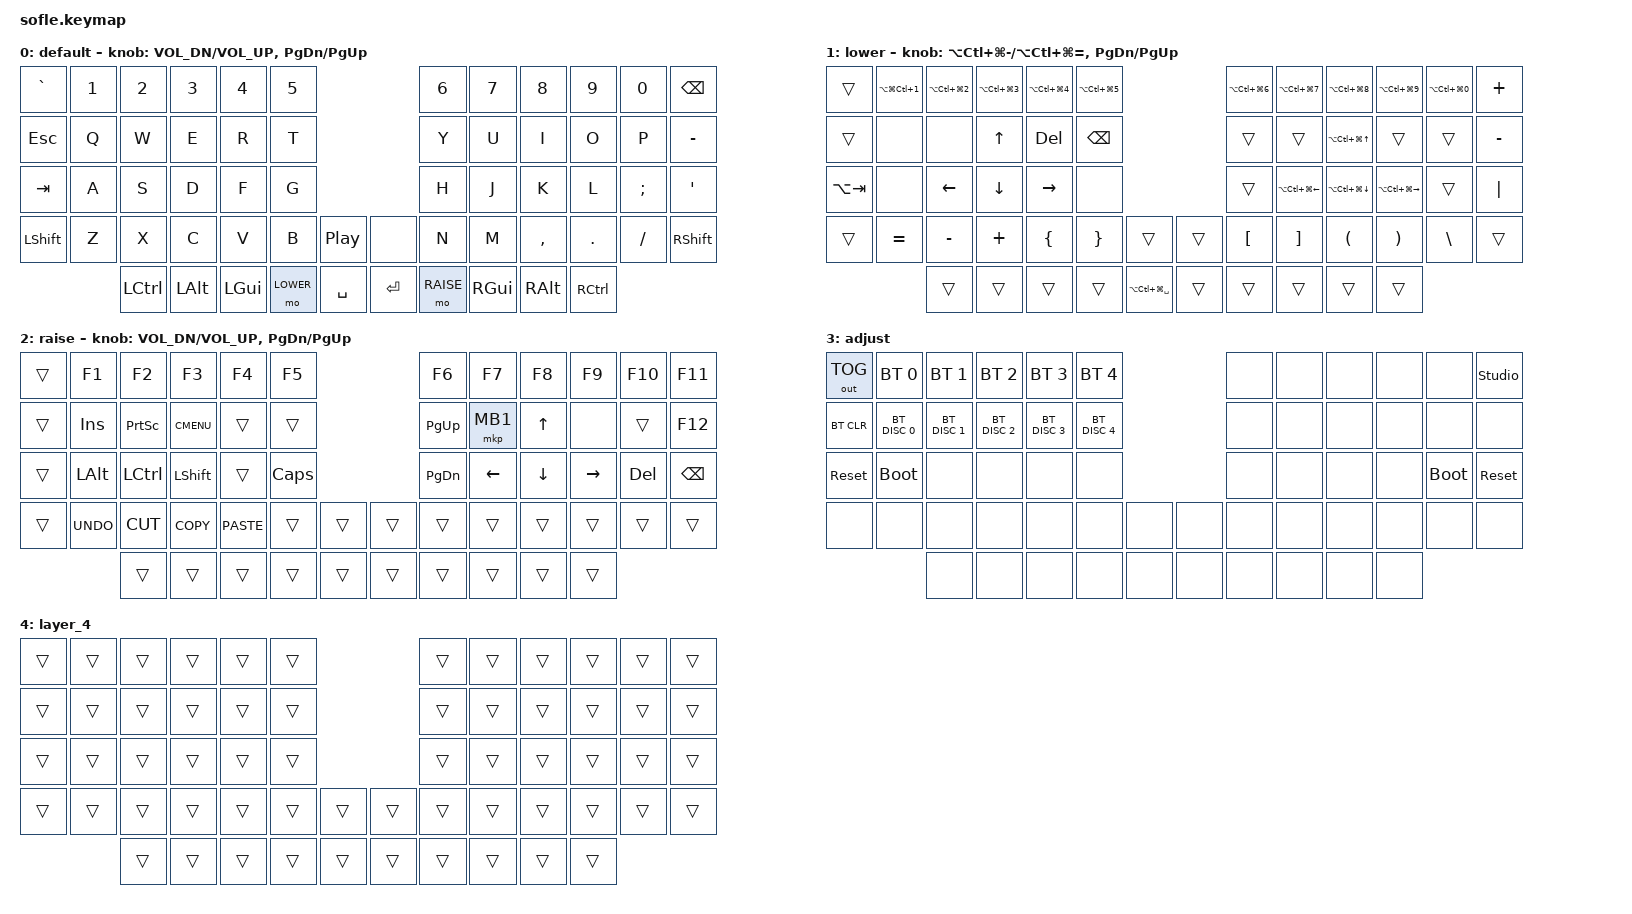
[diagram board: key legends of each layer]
/*
 * Copyright (c) 2020 The ZMK Contributors
 *
 * SPDX-License-Identifier: MIT
 */

#include <behaviors.dtsi>
#include <dt-bindings/zmk/bt.h>
#include <dt-bindings/zmk/keys.h>
#include <dt-bindings/zmk/outputs.h>
#include <dt-bindings/zmk/pointing.h>

#define BASE 0
#define LOWER 1
#define RAISE 2
#define ADJUST 3

/ {
    // Activate ADJUST layer by pressing raise and lower

    conditional_layers {
        compatible = "zmk,conditional-layers";

        adjust_layer {
            if-layers = <LOWER RAISE>;
            then-layer = <ADJUST>;
        };
    };

    keymap {
        compatible = "zmk,keymap";

        default_layer {
            display-name = "default";
            bindings = <
&kp GRAVE  &kp N1  &kp N2     &kp N3    &kp N4    &kp N5                                  &kp N6     &kp N7    &kp N8     &kp N9     &kp N0    &kp BSPC
&kp ESC    &kp Q   &kp W      &kp E     &kp R     &kp T                                   &kp Y      &kp U     &kp I      &kp O      &kp P     &kp MINUS
&kp TAB    &kp A   &kp S      &kp D     &kp F     &kp G                                   &kp H      &kp J     &kp K      &kp L      &kp SEMI  &kp SQT
&kp LSHFT  &kp Z   &kp X      &kp C     &kp V     &kp B      &kp C_PLAY_PAUSE    &none    &kp N      &kp M     &kp COMMA  &kp DOT    &kp FSLH  &kp RSHFT
                   &kp LCTRL  &kp LALT  &kp LGUI  &mo LOWER  &kp SPACE           &kp RET  &mo RAISE  &kp RGUI  &kp RALT   &kp RCTRL
            >;

            sensor-bindings = <&inc_dec_kp C_VOL_DN C_VOL_UP &inc_dec_kp PG_DN PG_UP>;
        };

        lower_layer {
            display-name = "lower";
            bindings = <
&trans       &kp LA(LG(LC(N1)))  &kp LA(LC(LG(N2)))  &kp LA(LC(LG(N3)))  &kp LA(LC(LG(N4)))  &kp LA(LC(LG(N5)))                                   &kp LA(LC(LG(N6)))  &kp LA(LC(LG(N7)))          &kp LA(LC(LG(N8)))          &kp LA(LC(LG(N9)))           &kp LA(LC(LG(N0)))  &kp PLUS
&trans       &none               &none               &kp UP              &kp DELETE          &kp BACKSPACE                                        &trans              &trans                      &kp LA(LC(LG(UP_ARROW)))    &trans                       &trans              &kp MINUS
&kp LA(TAB)  &none               &kp LEFT            &kp DOWN            &kp RIGHT           &none                                                &trans              &kp LA(LC(LG(LEFT_ARROW)))  &kp LA(LC(LG(DOWN_ARROW)))  &kp LA(LC(LG(RIGHT_ARROW)))  &trans              &kp PIPE
&trans       &kp EQUAL           &kp MINUS           &kp PLUS            &kp LBRC            &kp RBRC            &trans                   &trans  &kp LBKT            &kp RBKT                    &kp LPAR                    &kp RPAR                     &kp BSLH            &trans
                                 &trans              &trans              &trans              &trans              &kp LA(LC(LG(SPACE)))    &trans  &trans              &trans                      &trans                      &trans
            >;

            sensor-bindings =
                <&inc_dec_kp LA(LC(LG(MINUS))) LA(LC(LG(EQUAL)))>,
                <&inc_dec_kp PG_DN PG_UP>;
        };

        raise_layer {
            display-name = "raise";
            bindings = <
&trans  &kp F1      &kp F2     &kp F3       &kp F4       &kp F5                      &kp F6     &kp F7    &kp F8    &kp F9     &kp F10  &kp F11
&trans  &kp INS     &kp PSCRN  &kp K_CMENU  &trans       &trans                      &kp PG_UP  &mkp MB1  &kp UP    &none      &trans   &kp F12
&trans  &kp LALT    &kp LCTRL  &kp LSHFT    &trans       &kp CLCK                    &kp PG_DN  &kp LEFT  &kp DOWN  &kp RIGHT  &kp DEL  &kp BSPC
&trans  &kp K_UNDO  &kp K_CUT  &kp K_COPY   &kp K_PASTE  &trans    &trans    &trans  &trans     &trans    &trans    &trans     &trans   &trans
                    &trans     &trans       &trans       &trans    &trans    &trans  &trans     &trans    &trans    &trans
            >;

            sensor-bindings = <&inc_dec_kp C_VOL_DN C_VOL_UP &inc_dec_kp PG_DN PG_UP>;
        };

        adjust_layer {
            display-name = "adjust";
            bindings = <
&out OUT_TOG  &bt BT_SEL 0   &bt BT_SEL 1   &bt BT_SEL 2   &bt BT_SEL 3   &bt BT_SEL 4                   &none  &none  &none  &none  &none        &studio_unlock
&bt BT_CLR    &bt BT_DISC 0  &bt BT_DISC 1  &bt BT_DISC 2  &bt BT_DISC 3  &bt BT_DISC 4                  &none  &none  &none  &none  &none        &none
&sys_reset    &bootloader    &none          &none          &none          &none                          &none  &none  &none  &none  &bootloader  &sys_reset
&none         &none          &none          &none          &none          &none          &none    &none  &none  &none  &none  &none  &none        &none
                             &none          &none          &none          &none          &none    &none  &none  &none  &none  &none
            >;
        };

        layer_4 {
            bindings = <
&trans  &trans  &trans  &trans  &trans  &trans                    &trans  &trans  &trans  &trans  &trans  &trans
&trans  &trans  &trans  &trans  &trans  &trans                    &trans  &trans  &trans  &trans  &trans  &trans
&trans  &trans  &trans  &trans  &trans  &trans                    &trans  &trans  &trans  &trans  &trans  &trans
&trans  &trans  &trans  &trans  &trans  &trans  &trans    &trans  &trans  &trans  &trans  &trans  &trans  &trans
                &trans  &trans  &trans  &trans  &trans    &trans  &trans  &trans  &trans  &trans
            >;
        };
    };
};
